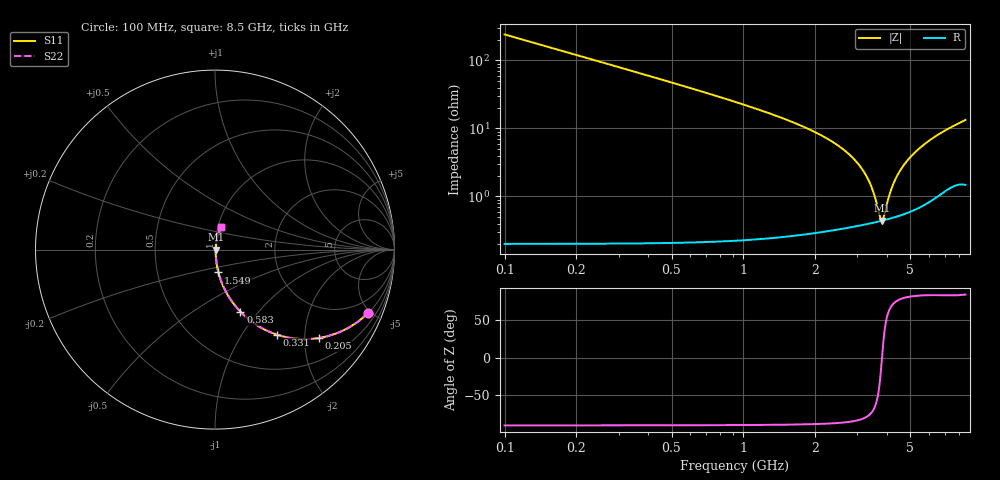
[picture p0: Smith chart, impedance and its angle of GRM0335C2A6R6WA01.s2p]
!Murata Part Number: GRM0335C2A6R6WA01
!These Parameters are Measured in Series Mode Connection
!Data Generated on Mar 30, 2021
!  o--ll--o
!Port1  Port2
!  o------o
!Operation Temp=25[degC], DC Bias Voltage=0[V]
!Freq. Start=100[MHz] Stop=9[GHz] 401[Steps]
# Hz S RI R 50
!Freq.(Hz) S11(Real) S11(Imag) S21(Real) S21(Imag) S12(Real) S12(Imag) S22(Real) S22(Imag)
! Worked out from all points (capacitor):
!   401 points, 100 MHz to 8.5 GHz, reference 50 ohm
!   read as one part in series: C = 6.6 pF near 142 MHz
!   lowest |Z| = 440 mohm at 3.796 GHz (marker M1)
!   series resonance near 3.803 GHz, so ESL is about 270 pH
!   S11 on the Smith chart (normalised r, x): 100 MHz: 1.00, -4.82; 205 MHz: 1.00, -2.35; 331 MHz: 1.00, -1.45; 583 MHz: 1.00, -0.81; 1.549 GHz: 1.01, -0.26; 8.5 GHz: 1.03, +0.27
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1e8  0.8529 -0.3538  0.1471 0.3538  0.1471 0.3538  0.8529 -0.3538
2.05e8  0.579 -0.4929  0.421 0.4929  0.421 0.4929  0.579 -0.4929
3.31e8  0.3438 -0.4736  0.6562 0.4736  0.6562 0.4736  0.3438 -0.4736
4.36e8  0.2305 -0.4193  0.7695 0.4193  0.7695 0.4193  0.2305 -0.4193
5.83e8  0.1416 -0.3461  0.8584 0.3461  0.8584 0.3461  0.1416 -0.3461
9.19e8  0.0595 -0.2321  0.9405 0.2321  0.9405 0.2321  0.0595 -0.2321
1.507e9  0.0204 -0.1322  0.9796 0.1322  0.9796 0.1322  0.0204 -0.1322
1.549e9  0.0191 -0.1275  0.9809 0.1275  0.9809 0.1275  0.0191 -0.1275
2.431e9  0.00668 -0.0587  0.9933 0.0587  0.9933 0.0587  0.00668 -0.0587
2.914e9  0.00478 -0.0345  0.9952 0.0345  0.9952 0.0345  0.00478 -0.0345
3.376e9  0.00422 -0.0154  0.9958 0.0154  0.9958 0.0154  0.00422 -0.0154
3.544e9  0.00422 -0.00914  0.9958 0.00914  0.9958 0.00914  0.00422 -0.00914
3.733e9  0.00432 -0.00243  0.9957 0.00243  0.9957 0.00243  0.00432 -0.00243
3.796e9  0.00437 -0.000254  0.9956 0.000254  0.9956 0.000254  0.00437 -0.000254
3.859e9  0.00444 0.00189  0.9956 -0.00189  0.9956 -0.00189  0.00444 0.00189
4.111e9  0.00481 0.0102  0.9952 -0.0102  0.9952 -0.0102  0.00481 0.0102
4.3e9  0.00519 0.0162  0.9948 -0.0162  0.9948 -0.0162  0.00519 0.0162
4.552e9  0.00582 0.0239  0.9942 -0.0239  0.9942 -0.0239  0.00582 0.0239
4.846e9  0.00674 0.0325  0.9933 -0.0325  0.9933 -0.0325  0.00674 0.0325
5.707e9  0.0106 0.0566  0.9894 -0.0566  0.9894 -0.0566  0.0106 0.0566
7.114e9  0.021 0.0927  0.979 -0.0927  0.979 -0.0927  0.021 0.0927
8.5e9  0.0311 0.1266  0.9689 -0.1266  0.9689 -0.1266  0.0311 0.1266
